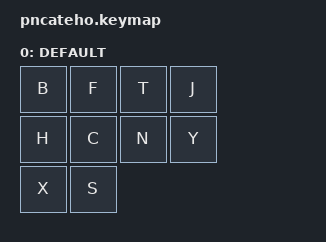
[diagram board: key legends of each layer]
#include <behaviors.dtsi>
#include <dt-bindings/zmk/keys.h>

/ {
    keymap {
        compatible = "zmk,keymap";
        default_layer {
            label = "DEFAULT";
            // Порядок биндингов должен соответствовать порядку в map из matrix_transform:
            // сначала 4 верхних, потом 4 нижних, потом 2 thumb
            bindings = <
                &kp B &kp F &kp T &kp J
                &kp H &kp C &kp N &kp Y
                &kp X &kp S
            >;
        };
    };
};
